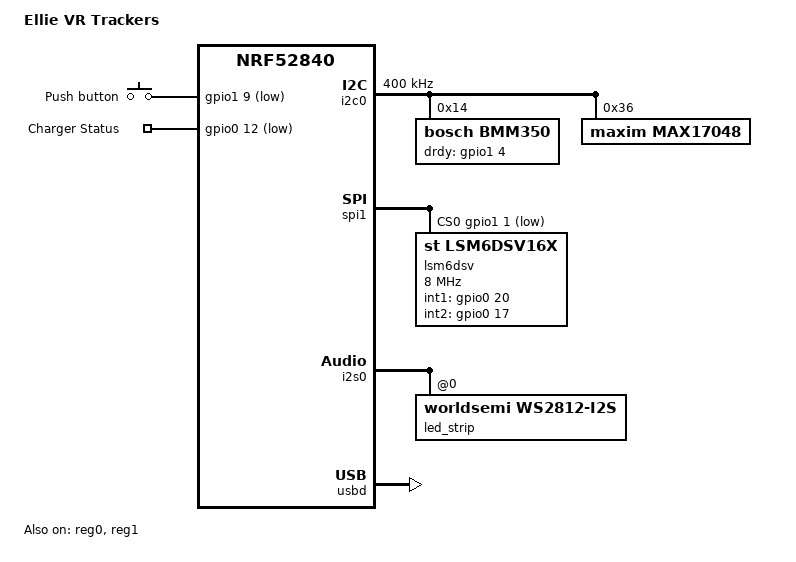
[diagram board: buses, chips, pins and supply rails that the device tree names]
/dts-v1/;
#include <nordic/nrf52840_qiaa.dtsi>
#include <nordic/nrf52840_partition.dtsi>
#include <dt-bindings/input/input-event-codes.h>
#include <zephyr/dt-bindings/led/led.h>
#include "vr_trackers-pinctrl.dtsi"


/ {
    model = "Ellie VR Trackers";
    compatible = "ellie,vr-trackers";

    chosen {
        zephyr,sram = &sram0;
        zephyr,flash = &flash0;
        zephyr,code-partition = &slot0_partition;
        zephyr,ieee802154 = &ieee802154;
    };

    buttons {
        compatible = "gpio-keys";
        button0: button_0 {
            /* Schematic SW2 -> P1.09 */
            gpios = <&gpio1 9 (GPIO_PULL_UP | GPIO_ACTIVE_LOW)>;
            label = "Push button";
            zephyr,code = <INPUT_KEY_0>;
        };
    };

    charger {
        compatible = "gpio-keys"; 
        charger_stat: charger_stat {
            gpios = <&gpio0 12 (GPIO_PULL_UP | GPIO_ACTIVE_LOW)>;
            label = "Charger Status";
        };
    };

    aliases {
        sw0 = &button0;
        watchdog0 = &wdt0;
        accel0 = &lsm6dsv;
        magn0 = &bmm350;
        fuel-gauge0 = &max17048;
        charger-stat = &charger_stat;
        led-strip = &led_strip;
    };
};

&reg0 { status = "okay"; };
&reg1 {
    regulator-initial-mode = <NRF5X_REG_MODE_DCDC>;
    status = "okay";
};
&gpiote { status = "okay"; };
&gpio0 { status = "okay"; };
&gpio1 { status = "okay"; };

&i2c0 {
    compatible = "nordic,nrf-twim";
    status = "okay";
    pinctrl-0 = <&i2c0_default>;
    pinctrl-1 = <&i2c0_sleep>;
    pinctrl-names = "default", "sleep";
    clock-frequency = <I2C_BITRATE_FAST>;

    bmm350: bmm350@14 {
        compatible = "bosch,bmm350";
        reg = <0x14>;
        drdy-gpios = <&gpio1 4 GPIO_ACTIVE_HIGH>;
        status = "okay";
        odr = "100"; // can go up to 400hz
        osr = <2>;   /* Oversampling: 1, 2, 4, or 8 */
    };

    max17048: max17048@36 {
        compatible = "maxim,max17048";
        reg = <0x36>;
        status = "okay";
    };
};

&spi1 {
    compatible = "nordic,nrf-spi";
    status = "okay";
    pinctrl-0 = <&spi1_default>;
    pinctrl-1 = <&spi1_sleep>;
    pinctrl-names = "default", "sleep";

    cs-gpios = <&gpio1 1 GPIO_ACTIVE_LOW>;

    lsm6dsv: lsm6dsv@0 {
        compatible = "st,lsm6dsv16x";
        reg = <0>;
        spi-max-frequency = <8000000>;
        int1-gpios = <&gpio0 20 GPIO_ACTIVE_HIGH>;
        int2-gpios = <&gpio0 17 GPIO_ACTIVE_HIGH>;
        status = "okay";
    };
};

&i2s0 {
    status = "okay";
    pinctrl-0 = <&i2s0_default>;
    pinctrl-1 = <&i2s0_sleep>;
    pinctrl-names = "default", "sleep";

    led_strip: ws2812@0 {
        compatible = "worldsemi,ws2812-i2s";
        
        reg = <0>;
        chain-length = <1>;
        color-mapping = <LED_COLOR_ID_GREEN
				 LED_COLOR_ID_RED
				 LED_COLOR_ID_BLUE>;

        reset-delay = <120>;
    };
};

&usbd {
    compatible = "nordic,nrf-usbd";
    status = "okay";

    hid_dev_0: hid_dev_0 {
        compatible = "zephyr,hid-device";
		label = "HID0";
		protocol-code = "none";
		in-polling-period-us = <1000>;
		in-report-size = <64>;
    };
};
